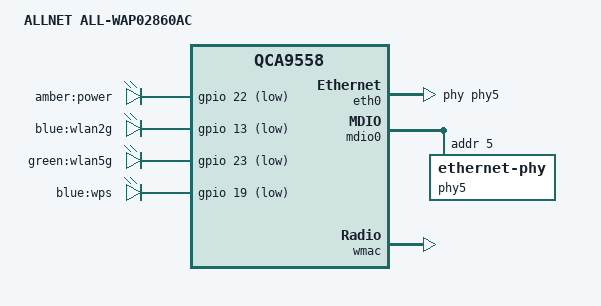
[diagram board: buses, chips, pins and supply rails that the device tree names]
// SPDX-License-Identifier: GPL-2.0-or-later OR MIT

#include "qca955x_senao_ap.dtsi"

/ {
	model = "ALLNET ALL-WAP02860AC";
	compatible = "allnet,all-wap02860ac", "qca,qca9558";

	leds {
		compatible = "gpio-leds";

		led_power: power {
			label = "amber:power";
			gpios = <&gpio 22 GPIO_ACTIVE_LOW>;
			default-state = "on";
		};

		wlan2g {
			label = "blue:wlan2g";
			gpios = <&gpio 13 GPIO_ACTIVE_LOW>;
			linux,default-trigger = "phy1tpt";
		};

		wlan5g {
			label = "green:wlan5g";
			gpios = <&gpio 23 GPIO_ACTIVE_LOW>;
			linux,default-trigger = "phy0tpt";
		};

		wps {
			label = "blue:wps";
			gpios = <&gpio 19 GPIO_ACTIVE_LOW>;
		};
	};
};

&partitions {
	art: partition@ff0000 {
		label = "art";
		reg = <0xff0000 0x010000>;
		read-only;
	};
};

&eth0 {
	phy-handle = <&phy5>;
};

&mdio0 {
	status = "okay";

	phy5: ethernet-phy@5 {
		reg = <5>;
		eee-broken-100tx;
		eee-broken-1000t;
	};
};

&wmac {
	status = "okay";

	mtd-cal-data = <&art 0x1000>;
	mtd-mac-address = <&art 0x0>;
	mtd-mac-address-increment = <1>;
};
